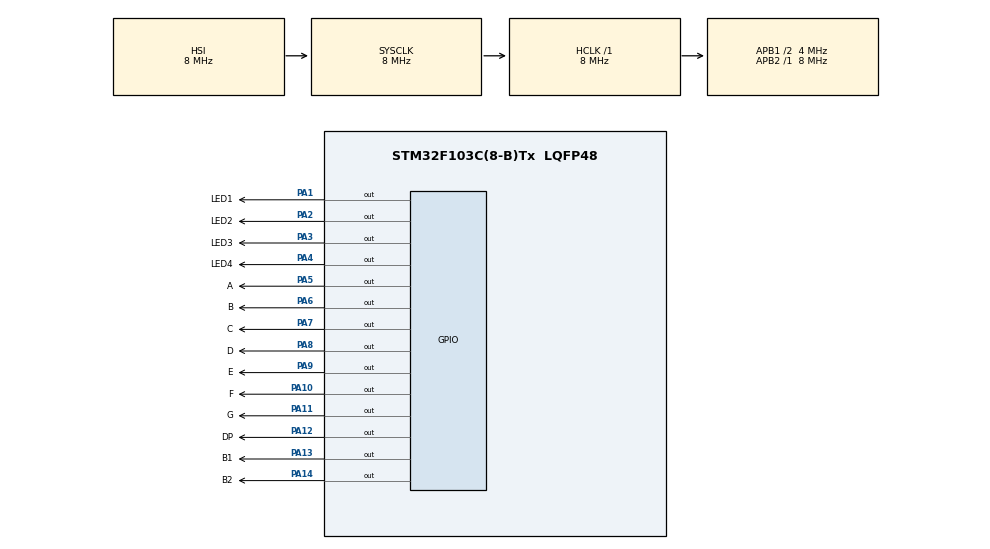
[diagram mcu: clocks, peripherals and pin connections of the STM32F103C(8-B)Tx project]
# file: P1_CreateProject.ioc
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Mcu.Family=STM32F1
Mcu.Name=STM32F103C(8-B)Tx
Mcu.Package=LQFP48
NVIC.PriorityGroup=NVIC_PRIORITYGROUP_4
NVIC.TIM2_IRQn=true\:0\:0\:false\:false\:true\:true\:true\:true
PA1.GPIO_Label=LED1
PA1.PinState=GPIO_PIN_SET
PA1.Signal=GPIO_Output
PA10.GPIO_Label=F
PA10.Signal=GPIO_Output
PA11.GPIO_Label=G
PA11.Signal=GPIO_Output
PA12.GPIO_Label=DP
PA12.Signal=GPIO_Output
PA13.GPIO_Label=B1
PA13.Signal=GPIO_Output
PA14.GPIO_Label=B2
PA14.Signal=GPIO_Output
PA2.GPIO_Label=LED2
PA2.PinState=GPIO_PIN_SET
PA2.Signal=GPIO_Output
PA3.GPIO_Label=LED3
PA3.PinState=GPIO_PIN_SET
PA3.Signal=GPIO_Output
PA4.GPIO_Label=LED4
PA4.PinState=GPIO_PIN_SET
PA4.Signal=GPIO_Output
PA5.GPIO_Label=A
PA5.Signal=GPIO_Output
PA6.GPIO_Label=B
PA6.Signal=GPIO_Output
PA7.GPIO_Label=C
PA7.Signal=GPIO_Output
PA8.GPIO_Label=D
PA8.Signal=GPIO_Output
PA9.GPIO_Label=E
PA9.Signal=GPIO_Output
PC14-OSC32_IN.Mode=LSE-External-Oscillator
PC14-OSC32_IN.Signal=RCC_OSC32_IN
PC15-OSC32_OUT.Mode=LSE-External-Oscillator
PC15-OSC32_OUT.Signal=RCC_OSC32_OUT
PD0-OSC_IN.Mode=HSE-External-Oscillator
PD0-OSC_IN.Signal=RCC_OSC_IN
PD1-OSC_OUT.Mode=HSE-External-Oscillator
PD1-OSC_OUT.Signal=RCC_OSC_OUT
ProjectManager.HeapSize=0x200
ProjectManager.StackSize=0x400
ProjectManager.TargetToolchain=MDK-ARM V5.32
RCC.AHBFreq_Value=8000000
RCC.APB1CLKDivider=RCC_HCLK_DIV2
RCC.APB1Freq_Value=4000000
RCC.APB1TimFreq_Value=8000000
RCC.APB2Freq_Value=8000000
RCC.APB2TimFreq_Value=8000000
RCC.HCLKFreq_Value=8000000
RCC.PLLMUL=RCC_PLL_MUL9
RCC.PLLSourceVirtual=RCC_PLLSOURCE_HSE
RCC.SYSCLKFreq_VALUE=8000000
RCC.USBFreq_Value=72000000
TIM2.Period=9
TIM2.Prescaler=7199
VP_SYS_VS_ND.Mode=No_Debug
VP_TIM2_VS_ClockSourceINT.Mode=Internal
board=custom

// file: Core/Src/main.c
/* USER CODE BEGIN Header */
/**
  ******************************************************************************
  * @file           : main.c
  * @brief          : Main program body
  ******************************************************************************
  * @attention
  *
  * Copyright (c) 2026 STMicroelectronics.
  * All rights reserved.
  *
  * This software is licensed under terms that can be found in the LICENSE file
  * in the root directory of this software component.
  * If no LICENSE file comes with this software, it is provided AS-IS.
  *
  ******************************************************************************
  */
/* USER CODE END Header */
#include "main.h"
#include "tim.h"
#include "gpio.h"

/* USER CODE BEGIN PV */
uint8_t led_index = 0;//全局状态变量 led_index，记录当前应该点亮第几个LED：0~3
/*
为什么这里一定推荐 volatile
因为：timer_ms不是只在普通程序里面变化。
它会在：HAL_TIM_PeriodElapsedCallback()
也就是中断回调函数里面被修改。
所以：volatile uint32_t timer_ms;
是在告诉编译器：
这个变量可能在你意想不到的时候被中断修改，所以每次使用时都重新读取真实值，不要自作聪明缓存或优化。*/
volatile uint32_t system_ms = 0;//整个程序从 TIM2 启动以后经过了多少毫秒。
volatile uint8_t led_update_flag = 0;//流水灯的500ms时间到了没有
volatile uint8_t display_update_flag = 0;
/* 当前应该显示哪一位：
   0 = 第一位
   1 = 第二位
为什么用 volatile？
因为：
中断函数
HAL_TIM_PeriodElapsedCallback()
        ↓
修改 display_update_flag

main()
        ↓
读取 display_update_flag
它是一个：中断与主程序共享的变量
所以：volatile告诉编译器：
这个变量可能突然被中断修改，每次都真正从内存读取，不要认为它一直没变。
*/
uint8_t display_index = 0;
/* USER CODE END PV */

void SystemClock_Config(void);
/* USER CODE BEGIN PFP */
uint8_t Timer_Elapsed(uint32_t *last_time, uint32_t interval_ms);//检查指定时间到了没有。
void LED_Run(void);
void Display_Scan(void);
void display(uint16_t shu);
void display_clear(void);
void bitsel(uint16_t wei);
/* USER CODE END PFP */

int main(void)
{

  /* MCU Configuration--------------------------------------------------------*/

  /* Reset of all peripherals, Initializes the Flash interface and the Systick. */
  HAL_Init();

  /* Configure the system clock */
  SystemClock_Config();

  /* Initialize all configured peripherals */
  MX_GPIO_Init();
  MX_TIM2_Init();
  /* USER CODE BEGIN 2 */
  HAL_TIM_Base_Start_IT(&htim2);//启动定时器，原因前面的GPIO 和 TIM2 都初始化完成了，才能正式启动 TIM2 中断。

  /* USER CODE END 2 */

  /* Infinite loop */
  /* USER CODE BEGIN WHILE */
  while (1)
  {
//  //��һ������ʽ��ѯ������ˮ��
//  HAL_GPIO_WritePin(LED1_GPIO_Port,LED1_Pin,GPIO_PIN_RESET);
//  HAL_GPIO_WritePin(LED2_GPIO_Port,LED2_Pin,GPIO_PIN_SET);
//  HAL_GPIO_WritePin(LED3_GPIO_Port,LED3_Pin,GPIO_PIN_SET);
//  HAL_GPIO_WritePin(LED4_GPIO_Port,LED4_Pin,GPIO_PIN_SET);
//  HAL_Delay(500);
//  HAL_GPIO_WritePin(LED1_GPIO_Port,LED1_Pin,GPIO_PIN_SET);
//  HAL_GPIO_WritePin(LED2_GPIO_Port,LED2_Pin,GPIO_PIN_RESET);
//  HAL_GPIO_WritePin(LED3_GPIO_Port,LED3_Pin,GPIO_PIN_SET);
//  HAL_GPIO_WritePin(LED4_GPIO_Port,LED4_Pin,GPIO_PIN_SET);
//  HAL_Delay(500);
//  HAL_GPIO_WritePin(LED1_GPIO_Port,LED1_Pin,GPIO_PIN_SET);
//  HAL_GPIO_WritePin(LED2_GPIO_Port,LED2_Pin,GPIO_PIN_SET);
//  HAL_GPIO_WritePin(LED3_GPIO_Port,LED3_Pin,GPIO_PIN_RESET);
//  HAL_GPIO_WritePin(LED4_GPIO_Port,LED4_Pin,GPIO_PIN_SET);
//  HAL_Delay(500);
//  HAL_GPIO_WritePin(LED1_GPIO_Port,LED1_Pin,GPIO_PIN_SET);
//  HAL_GPIO_WritePin(LED2_GPIO_Port,LED2_Pin,GPIO_PIN_SET);
//  HAL_GPIO_WritePin(LED3_GPIO_Port,LED3_Pin,GPIO_PIN_SET);
//  HAL_GPIO_WritePin(LED4_GPIO_Port,LED4_Pin,GPIO_PIN_RESET);
//  HAL_Delay(500);

 //��������λȡ�� NOT

// // LED1����������
//    HAL_GPIO_WritePin(GPIOA, LED1_Pin | LED2_Pin | LED3_Pin | LED4_Pin,GPIO_PIN_SET);
//    HAL_GPIO_WritePin(GPIOA, LED1_Pin, GPIO_PIN_RESET);
//    HAL_Delay(500);
//    // LED2����������
//    HAL_GPIO_WritePin(GPIOA, LED1_Pin | LED2_Pin | LED3_Pin | LED4_Pin,GPIO_PIN_SET);
//    HAL_GPIO_WritePin(GPIOA, LED2_Pin, GPIO_PIN_RESET);
//    HAL_Delay(500);

//    // LED3����������
//    HAL_GPIO_WritePin(GPIOA,LED1_Pin | LED2_Pin | LED3_Pin | LED4_Pin, GPIO_PIN_SET);
//    HAL_GPIO_WritePin(GPIOA, LED3_Pin, GPIO_PIN_RESET);
//    HAL_Delay(500);

//    //LED4����������
//    HAL_GPIO_WritePin(GPIOA,LED1_Pin | LED2_Pin | LED3_Pin | LED4_Pin,GPIO_PIN_SET);
//    HAL_GPIO_WritePin(GPIOA, LED4_Pin, GPIO_PIN_RESET);
//    HAL_Delay(500);

/* ---------- 500ms流水灯任务 ---------- */
    if (led_update_flag)
    {
        led_update_flag = 0;
        LED_Run();
    }

    /* ---------- 1ms数码管扫描任务 ---------- */
    if (display_update_flag)
    {
        display_update_flag = 0;
        Display_Scan();
    }

    /* USER CODE END WHILE */

  }
}

void SystemClock_Config(void)
{
  RCC_OscInitTypeDef RCC_OscInitStruct = {0};
  RCC_ClkInitTypeDef RCC_ClkInitStruct = {0};

  /** Initializes the RCC Oscillators according to the specified parameters
  * in the RCC_OscInitTypeDef structure.
  */
  RCC_OscInitStruct.OscillatorType = RCC_OSCILLATORTYPE_HSI;
  RCC_OscInitStruct.HSIState = RCC_HSI_ON;
  RCC_OscInitStruct.HSICalibrationValue = RCC_HSICALIBRATION_DEFAULT;
  RCC_OscInitStruct.PLL.PLLState = RCC_PLL_NONE;
  if (HAL_RCC_OscConfig(&RCC_OscInitStruct) != HAL_OK)
  {
    Error_Handler();
  }

  /** Initializes the CPU, AHB and APB buses clocks
  */
  RCC_ClkInitStruct.ClockType = RCC_CLOCKTYPE_HCLK|RCC_CLOCKTYPE_SYSCLK
                              |RCC_CLOCKTYPE_PCLK1|RCC_CLOCKTYPE_PCLK2;
  RCC_ClkInitStruct.SYSCLKSource = RCC_SYSCLKSOURCE_HSI;
  RCC_ClkInitStruct.AHBCLKDivider = RCC_SYSCLK_DIV1;
  RCC_ClkInitStruct.APB1CLKDivider = RCC_HCLK_DIV2;
  RCC_ClkInitStruct.APB2CLKDivider = RCC_HCLK_DIV1;

  if (HAL_RCC_ClockConfig(&RCC_ClkInitStruct, FLASH_LATENCY_0) != HAL_OK)
  {
    Error_Handler();
  }
}

/* USER CODE BEGIN 4 */
//非阻塞方式延时
uint8_t Timer_Elapsed(uint32_t *last_time, uint32_t interval_ms)
{
    uint32_t now = system_ms;

    if ((uint32_t)(now - *last_time) >= interval_ms)
    {
        *last_time = now;

        return 1;
    }

    return 0;//未到时间，直接返回去做其他事情，不等待
  }
void HAL_TIM_PeriodElapsedCallback(TIM_HandleTypeDef *htim)
{
    static uint16_t led_tick = 0;
/*
  第一次进入 TIM2 中断：led_tick = 0↓led_tick++↓1
退出中断以后，因为有：static
所以值不会消失。下一次进入：原来是1↓led_tick++↓2一直：1...500到了：500ms
执行：
led_tick = 0;
led_update_flag = 1;
于是：又从0开始计下一个500ms*/
    if (htim->Instance == TIM2)
    {
        /* 每进入一次TIM2中断，就代表经过1ms */
        system_ms++;
/* ==============================
           数码管任务
           每1ms刷新一次
           ============================== */
        display_update_flag = 1;

        /* 流水灯自己的计时器 */
        led_tick++;

        /* 每500ms通知主程序切换一次LED */
        if (led_tick >= 125)
        {
            led_tick = 0;

            led_update_flag = 1;
          /*没有直接调用：LED_Run();
          中断尽可能只负责计时、记录状态、设置标志，，然后马上退出。*/
        }
    }
}

void LED_Run(void)
{
    /* 先关闭全部LED */
    HAL_GPIO_WritePin(LED1_GPIO_Port, LED1_Pin, GPIO_PIN_SET);
    HAL_GPIO_WritePin(LED2_GPIO_Port, LED2_Pin, GPIO_PIN_SET);
    HAL_GPIO_WritePin(LED3_GPIO_Port, LED3_Pin, GPIO_PIN_SET);
    HAL_GPIO_WritePin(LED4_GPIO_Port, LED4_Pin, GPIO_PIN_SET);

    /* 根据led_index点亮对应LED */
    if (led_index == 0)
    {
        HAL_GPIO_WritePin(LED1_GPIO_Port, LED1_Pin, GPIO_PIN_RESET);
    }
    else if (led_index == 1)
    {
        HAL_GPIO_WritePin(LED2_GPIO_Port, LED2_Pin, GPIO_PIN_RESET);
    }
    else if (led_index == 2)
    {
        HAL_GPIO_WritePin(LED3_GPIO_Port, LED3_Pin, GPIO_PIN_RESET);
    }
    else if (led_index == 3)
    {
        HAL_GPIO_WritePin(LED4_GPIO_Port, LED4_Pin, GPIO_PIN_RESET);
    }

    /* 切换到下一个LED */
    led_index++;

    if (led_index >= 4)
    {
        led_index = 0;
    }
}
void Display_Scan(void)
{
    /* =================================================
       第一步：先关闭两个数码管
       ================================================= */

    HAL_GPIO_WritePin(B1_GPIO_Port, B1_Pin, GPIO_PIN_RESET);
    HAL_GPIO_WritePin(B2_GPIO_Port, B2_Pin, GPIO_PIN_RESET);

    /* =================================================
       第二步：先关闭全部段

       因为你使用的是共阳极数码管：

       段选：
       SET   = 1 = 灭
       RESET = 0 = 亮

       所以这里全部写SET，相当于全部熄灭。
       ================================================= */

    HAL_GPIO_WritePin(A_GPIO_Port, A_Pin, GPIO_PIN_SET);
    HAL_GPIO_WritePin(B_GPIO_Port, B_Pin, GPIO_PIN_SET);
    HAL_GPIO_WritePin(B_GPIO_Port, C_Pin, GPIO_PIN_SET);
    HAL_GPIO_WritePin(D_GPIO_Port, D_Pin, GPIO_PIN_SET);
    HAL_GPIO_WritePin(E_GPIO_Port, E_Pin, GPIO_PIN_SET);
    HAL_GPIO_WritePin(F_GPIO_Port, F_Pin, GPIO_PIN_SET);
    HAL_GPIO_WritePin(G_GPIO_Port, G_Pin, GPIO_PIN_SET);
    HAL_GPIO_WritePin(DP_GPIO_Port, DP_Pin, GPIO_PIN_SET);

    /* =================================================
       第三步：根据 display_index 决定显示哪一位
       ================================================= */

    if (display_index == 0)
    {
        /* ---------- 第一位的段码 ---------- */

        HAL_GPIO_WritePin(A_GPIO_Port, A_Pin, GPIO_PIN_RESET);
        HAL_GPIO_WritePin(B_GPIO_Port, B_Pin, GPIO_PIN_SET);
        HAL_GPIO_WritePin(B_GPIO_Port, C_Pin, GPIO_PIN_RESET);
        HAL_GPIO_WritePin(D_GPIO_Port, D_Pin, GPIO_PIN_RESET);
        HAL_GPIO_WritePin(E_GPIO_Port, E_Pin, GPIO_PIN_RESET);
        HAL_GPIO_WritePin(F_GPIO_Port, F_Pin, GPIO_PIN_RESET);
        HAL_GPIO_WritePin(G_GPIO_Port, G_Pin, GPIO_PIN_RESET);
        HAL_GPIO_WritePin(DP_GPIO_Port, DP_Pin, GPIO_PIN_SET);

        /* 段码准备完成之后，再打开第一位 */
        HAL_GPIO_WritePin(B1_GPIO_Port, B1_Pin, GPIO_PIN_SET);
        HAL_GPIO_WritePin(B2_GPIO_Port, B2_Pin, GPIO_PIN_RESET);

        /* 下一次显示第二位 */
        display_index = 1;
    }
    else
    {
        /* ---------- 第二位的段码 ---------- */

        HAL_GPIO_WritePin(A_GPIO_Port, A_Pin, GPIO_PIN_RESET);
        HAL_GPIO_WritePin(B_GPIO_Port, B_Pin, GPIO_PIN_RESET);
        HAL_GPIO_WritePin(B_GPIO_Port, C_Pin, GPIO_PIN_RESET);
        HAL_GPIO_WritePin(D_GPIO_Port, D_Pin, GPIO_PIN_RESET);
        HAL_GPIO_WritePin(E_GPIO_Port, E_Pin, GPIO_PIN_SET);
        HAL_GPIO_WritePin(F_GPIO_Port, F_Pin, GPIO_PIN_SET);
        HAL_GPIO_WritePin(G_GPIO_Port, G_Pin, GPIO_PIN_RESET);
        HAL_GPIO_WritePin(DP_GPIO_Port, DP_Pin, GPIO_PIN_SET);

        /* 段码准备完成之后，再打开第二位 */
        HAL_GPIO_WritePin(B1_GPIO_Port, B1_Pin, GPIO_PIN_RESET);
        HAL_GPIO_WritePin(B2_GPIO_Port, B2_Pin, GPIO_PIN_SET);

        /* 下一次重新显示第一位 */
        display_index = 0;
    }
}
/* USER CODE END 4 */

void Error_Handler(void)
{
  __disable_irq();
  while (1)
  {
  }
}
